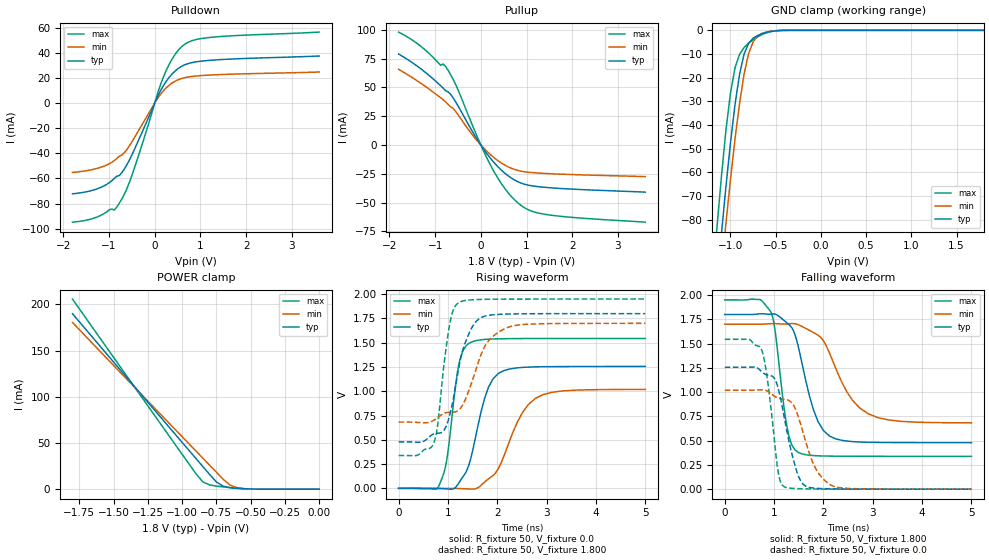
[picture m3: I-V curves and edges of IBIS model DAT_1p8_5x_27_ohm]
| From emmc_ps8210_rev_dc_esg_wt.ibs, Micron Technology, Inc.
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|   Model DAT_1p8_5x_27_ohm
[Model]   DAT_1p8_5x_27_ohm
Model_type   I/O
Vinl   = 0.68V
Vinh   = 1.11V
Vmeas  = 0.90V
|   typ   min   max
C_comp   5.490pF   5.000pF   5.930pF
[Voltage Range]   1.800V   1.700V   1.950V
| Junction Temperature (Ambient temp is 35C typ, 85C min, -25C max)
[Temperature Range]   50.0   100.0   -25.0
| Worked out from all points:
|   slope of the pulldown table from 0 to 0.27 V, typ, clamps not added: 14.9 ohm
|   slope of the pullup table from 0 to 0.27 V, typ, clamps not added: 18.8 ohm
|   GND clamp passes 1 mA (typ) near -0.62 V on its own axis
|   POWER clamp passes 1 mA (typ) near -0.61 V on its own axis
|   rising waveform, R_fixture 50, V_fixture 0.0: 20-80 % time 365ps typ, 538ps min, 226ps max; typ from 0 V to 1.26 V
|   falling waveform, R_fixture 50, V_fixture 1.800: 20-80 % time 399ps typ, 605ps min, 235ps max; typ from 1.8 V to 0.479 V
|   rising waveform, R_fixture 50, V_fixture 1.800: 20-80 % time 347ps typ, 463ps min, 221ps max; typ from 0.479 V to 1.8 V
|   falling waveform, R_fixture 50, V_fixture 0.0: 20-80 % time 320ps typ, 412ps min, 213ps max; typ from 1.26 V to 0 V
[Pulldown]
|   Voltage   I(typ)   I(min)   I(max)
-1.8V     -72.17mA   -55.17mA   -94.73mA
-1.26V    -68.23mA   -51.97mA   -90.6mA
-990mV    -63.21mA   -48.23mA   -84.82mA
-882mV    -59.82mA   -45.68mA   -85.08mA
-774mV    -57.65mA   -42.28mA   -79.56mA
-504mV    -41.61mA   -31.15mA   -58.05mA
198mV     14.26mA    10.04mA    21.32mA
414mV     24.33mA    16.66mA    36.91mA
630mV     29.91mA    19.92mA    46.01mA
846mV     32.32mA    21.24mA    49.89mA
1.278V    34.12mA    22.35mA    52.37mA
3.6V      37.36mA    24.63mA    56.38mA
[GND_clamp]
|   Voltage   I(typ)   I(min)   I(max)
-1.8V     -423.5mA   -425.5mA   -421.7mA
-1.15V    -106.9mA   -121.7mA   -83.42mA
-1.1V     -85.79mA   -101.1mA   -61.61mA
-1.05V    -65.86mA   -81.43mA   -42.03mA
-1V       -47.53mA   -62.91mA   -26.45mA
-950mV    -31.34mA   -45.93mA   -15.87mA
-900mV    -18.56mA   -30.95mA   -10.14mA
-850mV    -10.08mA   -18.57mA   -7.26mA
-800mV    -5.518mA   -9.883mA   -5.408mA
-700mV    -2.184mA   -2.431mA   -2.753mA
-450mV    -66.35uA   -50.69uA   -70.78uA
1.8V      83.71pA    4.239nA    14.85pA
[Pullup]
|   Voltage   I(typ)   I(min)   I(max)
-1.8V     79.07mA    65.81mA    98.11mA
-1.314V   66.2mA     53.65mA    85.75mA
-882mV    51.61mA    41.19mA    69.26mA
-774mV    47.25mA    37.55mA    68.44mA
-612mV    41.25mA    32.03mA    57.41mA
-126mV    7.887mA    5.881mA    11.6mA
252mV     -13.54mA   -9.823mA   -20.51mA
522mV     -24.41mA   -17.38mA   -37.61mA
846mV     -32.52mA   -22.47mA   -51.46mA
1.116V    -35.46mA   -23.96mA   -57.52mA
1.494V    -37.09mA   -24.9mA    -60.75mA
3.6V      -40.98mA   -27.5mA    -67.08mA
[POWER_clamp]
|   Voltage   I(typ)   I(min)   I(max)
-1.8V     189.8mA    180.3mA    205.7mA
-900mV    33.36mA    41.43mA    16.88mA
-850mV    24.71mA    33.74mA    7.997mA
-800mV    16.03mA    26.04mA    4.596mA
-750mV    7.762mA    18.34mA    3.354mA
-700mV    3.218mA    10.64mA    2.457mA
-650mV    1.558mA    4.403mA    1.681mA
-600mV    854.9uA    1.541mA    1.032mA
-500mV    194.5uA    191.2uA    217.2uA
0V        83.62pA    270.5pA    20.77pA
[Ramp]
|   typ   min   max
dV/dt_r   753.67m/365.39p   612.00m/537.84p   926.40m/226.42p
dV/dt_f   792.74m/398.94p   610.62m/606.25p   967.06m/235.16p
R_load = 50
[Rising Waveform]
R_fixture = 50
V_fixture = 0.0
|   Time   V(typ)   V(min)   V(max)
0s        5.38nV     15.38nV    1.999nV
820ps     -237.6uV   -1.722mV   30.22mV
970ps     -5.047mV   -1.035mV   276.3mV
1.24ns    70.54mV    -2.134mV   1.322V
1.43ns    250.1mV    -6.572mV   1.495V
1.74ns    922.2mV    63.16mV    1.534V
2.03ns    1.186V     211mV      1.54V
2.41ns    1.241V     685.8mV    1.543V
2.77ns    1.252V     925.5mV    1.544V
5ns       1.256V     1.019V     1.544V
[Falling Waveform]
R_fixture   = 50
V_fixture   = 1.800
V_fixture_min = 1.700
V_fixture_max = 1.950
|   Time   V(typ)   V(min)   V(max)
0s        1.8V       1.7V       1.95V
720ps     1.807V     1.7V       1.952V
940ps     1.803V     1.705V     1.818V
1.29ns    1.701V     1.703V     567.2mV
1.49ns    1.47V      1.694V     379.3mV
1.8ns     816.1mV    1.613V     346.1mV
2.13ns    545.4mV    1.396V     340.7mV
2.47ns    496.6mV    1.007V     339.3mV
2.9ns     483.2mV    779mV      338.6mV
5ns       479mV      683.3mV    338.3mV
[Rising Waveform]
R_fixture   = 50
V_fixture   = 1.800
V_fixture_min = 1.700
V_fixture_max = 1.950
|   Time   V(typ)   V(min)   V(max)
0s        478.8mV    682.3mV    338.2mV
710ps     560.4mV    700.1mV    462.2mV
790ps     567.7mV    728.6mV    646.5mV
920ps     598.3mV    772mV      1.276V
1.04ns    762.8mV    784.8mV    1.706V
1.23ns    1.271V     811.7mV    1.917V
1.58ns    1.725V     1.243V     1.945V
1.81ns    1.781V     1.512V     1.948V
2.17ns    1.795V     1.649V     1.949V
5ns       1.8V       1.7V       1.95V
[Falling Waveform]
R_fixture = 50
V_fixture = 0.0
|   Time   V(typ)   V(min)   V(max)
0s        1.256V     1.02V      1.544V
740ps     1.214V     1.023V     1.445V
860ps     1.177V     1.012V     1.149V
1.09ns    1.026V     937.6mV    156.3mV
1.2ns     757.9mV    926.1mV    27.35mV
1.38ns    327.2mV    875.9mV    8.083mV
1.54ns    83.36mV    667.7mV    4.073mV
1.84ns    9.526mV    215mV      1.555mV
2.14ns    3.423mV    45.04mV    629.8uV
5ns       37.36uV    85.52uV    26.17uV
